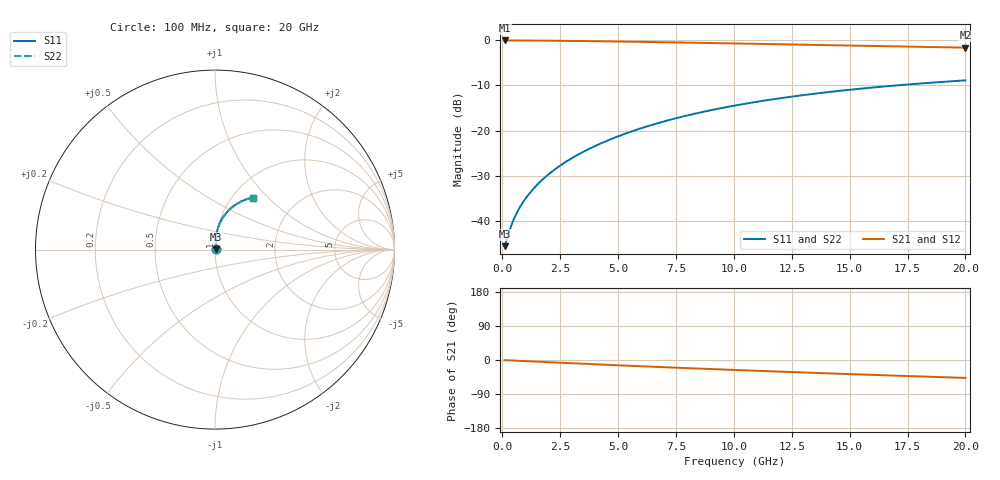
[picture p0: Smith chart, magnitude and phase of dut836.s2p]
! Touchstone file exported from HFSS 2024.1.0
!  File:  C:/UserFiles/LocalFiles/RDL_TSV_Batchsim/temp_RDL_top_836_1779855135.aedt
!  Generated:  12:14:33 PM May 27, 2026
!  Design:  RDL_top
!  Project:  temp_RDL_top_836_1779855135
!  Setup:  Setup1
!  Solution:  Sweep
! Variables:
!  dtsv = 10.80580581um
!  hbump = 3um
!  htsv = 72.61um
!  ldown = 100um
!  lrdl = 699.16um
!  p = 40
!  p1 = 48.09um
!  rhole = 1um
!  t = 450um
!  tdown = 3.915915916um
!  trdl = 2.09um
!  wdown = 15.38538539um
!  wrdl = 26.07um
# GHz S MA R 50.000000
! Terminal data exported
! Port[1] = Box2_T1
! Port[2] = Box2_T2
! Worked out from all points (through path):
!   200 points, 100 MHz to 20 GHz, reference 50 ohm
!   highest |S21| = -0.04 dB at 100 MHz (marker M1); lowest = -1.6 dB at 20 GHz (marker M2)
!   group delay of S21, straight-line fit = 6.5 ps
!   lowest |S11| = -45.6 dB at 100 MHz (marker M3), VSWR 1.01, Z = 50.5 + j0.192 ohm
!   |S11| at or under -10 dB: start of sweep to 17.01 GHz
!   |S22| runs from -45.6 to -8.9 dB; largest |S21 - S12| = 2.1e-14
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0.1  0.005256 21.3  0.9951 -0.3  0.9951 -0.3  0.005256 21.3
! Gamma 0 0 0 0
! Port Impedance 50 0 50 0
0.3  0.007634 46.3  0.9946 -0.9  0.9946 -0.9  0.007634 46.3
0.4  0.009059 52.6  0.9943 -1.2  0.9943 -1.2  0.009059 52.6
0.6  0.01193 60.4  0.9937 -1.8  0.9937 -1.8  0.01193 60.4
0.7  0.01336 63.1  0.9933 -2.1  0.9933 -2.1  0.01336 63.1
0.9  0.01621 67.4  0.9927 -2.7  0.9927 -2.7  0.01621 67.4
1.2  0.02057 71.9  0.9918 -3.5  0.9918 -3.5  0.02058 71.9
1.4  0.02355 74.2  0.9911 -4.1  0.9911 -4.1  0.02355 74.2
1.7  0.02813 76.8  0.99 -4.9  0.99 -4.9  0.02813 76.8
2.2  0.03606 79.8  0.9878 -6.3  0.9878 -6.3  0.03606 79.8
2.8  0.04602 82.0  0.9847 -8.0  0.9847 -8.0  0.04602 82.0
3.5  0.05825 83.4  0.9803 -10.0  0.9803 -10.0  0.05825 83.4
4.2  0.07108 84.0  0.9753 -11.9  0.9753 -11.9  0.07108 83.9
5  0.08639 83.9  0.969 -14.0  0.969 -14.0  0.08638 83.9
5.9  0.1042 83.2  0.9613 -16.3  0.9613 -16.3  0.1042 83.2
6.8  0.1226 82.0  0.9532 -18.6  0.9532 -18.6  0.1226 82.0
8.4  0.1557 79.1  0.9382 -22.5  0.9382 -22.5  0.1556 79.1
10.1  0.1905 75.5  0.9218 -26.5  0.9218 -26.5  0.1905 75.5
11.7  0.2224 71.9  0.9063 -30.1  0.9063 -30.1  0.2223 71.9
13.4  0.2546 68.0  0.8898 -33.8  0.8898 -33.8  0.2545 68.0
16.7  0.3113 60.7  0.8584 -40.7  0.8584 -40.7  0.3112 60.6
20  0.3599 53.8  0.8283 -47.3  0.8283 -47.3  0.3598 53.7
